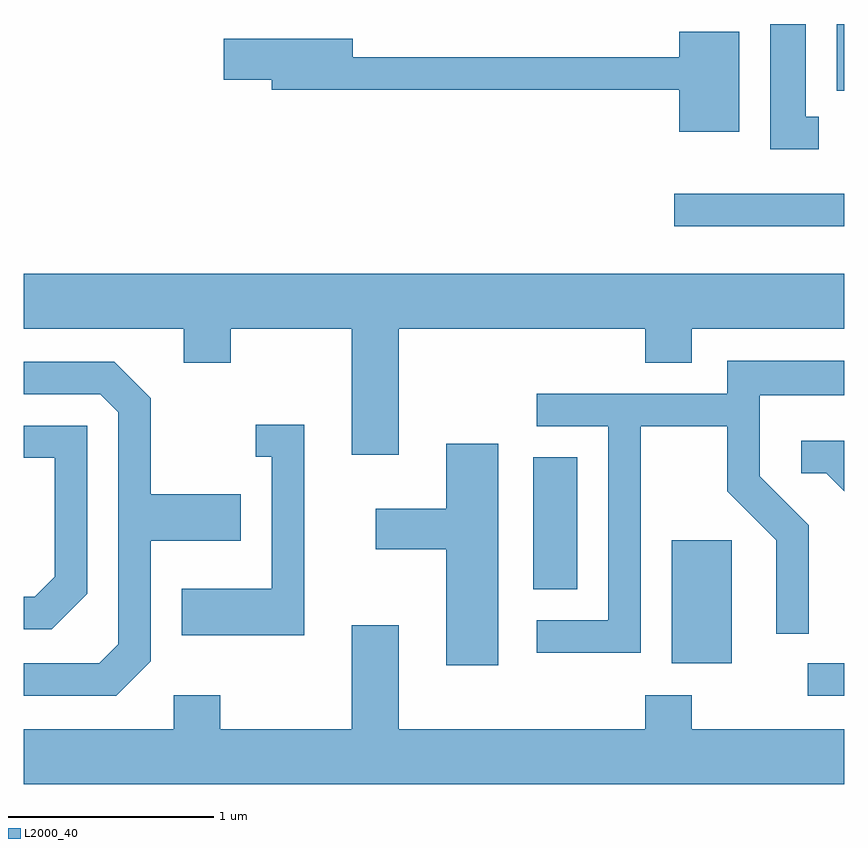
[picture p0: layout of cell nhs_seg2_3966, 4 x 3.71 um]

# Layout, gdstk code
import gdstk
lib = gdstk.Library(unit=1e-6, precision=1e-09)
def R(c, l, rs):  # rectangles x0, y0, x1, y1
    for r in rs: c.add(gdstk.rectangle(r[:2], r[2:], *l))
def P(c, l, *ps):  # polygons
    for p in ps: c.add(gdstk.Polygon(p, *l))
L2000_40 = (2000, 40)

nhs_seg2_3966 = lib.new_cell('nhs_seg2_3966')
R(nhs_seg2_3966, L2000_40, [(305.433,1046.526,305.611,1046.684), (304.771,1046.686,305.064,1047.284), (304.096,1047.046,304.309,1047.689), (304.783,1048.816,305.611,1048.974), (305.576,1049.476,305.611,1049.802)])
P(nhs_seg2_3966, L2000_40, [(305.488,1049.349),(305.424,1049.349),(305.424,1049.802),(305.251,1049.802),(305.251,1049.191),(305.488,1049.191)],
  [(305.099,1049.764),(304.806,1049.764),(304.806,1049.639),(303.214,1049.639),(303.214,1049.729),(302.586,1049.729),(302.586,1049.531),(302.821,1049.531),(302.821,1049.481),(304.806,1049.481),(304.806,1049.276),(305.099,1049.276)],
  [(303.439,1048.316),(304.641,1048.316),(304.641,1048.151),(304.869,1048.151),(304.869,1048.316),(305.611,1048.316),(305.611,1048.584),(301.611,1048.584),(301.611,1048.316),(302.391,1048.316),(302.391,1048.151),(302.619,1048.151),(302.619,1048.316),(303.211,1048.316),(303.211,1047.701),(303.439,1047.701)],
  [(304.619,1047.841),(305.041,1047.841),(305.041,1047.524),(305.281,1047.284),(305.281,1046.828),(305.439,1046.828),(305.439,1047.357),(305.199,1047.597),(305.199,1047.991),(305.611,1047.991),(305.611,1048.159),(305.041,1048.159),(305.041,1047.999),(304.113,1047.999),(304.113,1047.841),(304.461,1047.841),(304.461,1046.894),(304.113,1046.894),(304.113,1046.736),(304.619,1046.736)],
  [(302.229,1046.694),(302.229,1047.281),(302.669,1047.281),(302.669,1047.509),(302.229,1047.509),(302.229,1047.977),(302.052,1048.154),(301.611,1048.154),(301.611,1047.996),(301.984,1047.996),(302.071,1047.909),(302.071,1046.777),(301.979,1046.684),(301.611,1046.684),(301.611,1046.526),(302.062,1046.526)],
  [(302.979,1047.849),(302.743,1047.849),(302.743,1047.691),(302.821,1047.691),(302.821,1047.049),(302.381,1047.049),(302.381,1046.821),(302.979,1046.821)],
  [(301.919,1047.024),(301.919,1047.844),(301.611,1047.844),(301.611,1047.686),(301.761,1047.686),(301.761,1047.107),(301.664,1047.009),(301.611,1047.009),(301.611,1046.851),(301.747,1046.851)],
  [(305.611,1047.769),(305.403,1047.769),(305.403,1047.611),(305.524,1047.611),(305.611,1047.524)],
  [(303.924,1047.754),(303.671,1047.754),(303.671,1047.439),(303.326,1047.439),(303.326,1047.241),(303.671,1047.241),(303.671,1046.676),(303.924,1046.676)],
  [(305.611,1046.364),(304.869,1046.364),(304.869,1046.529),(304.641,1046.529),(304.641,1046.364),(303.439,1046.364),(303.439,1046.869),(303.211,1046.869),(303.211,1046.364),(302.569,1046.364),(302.569,1046.529),(302.341,1046.529),(302.341,1046.364),(301.611,1046.364),(301.611,1046.096),(305.611,1046.096)])

lib.write_gds('nhs_seg2_3966.gds')
